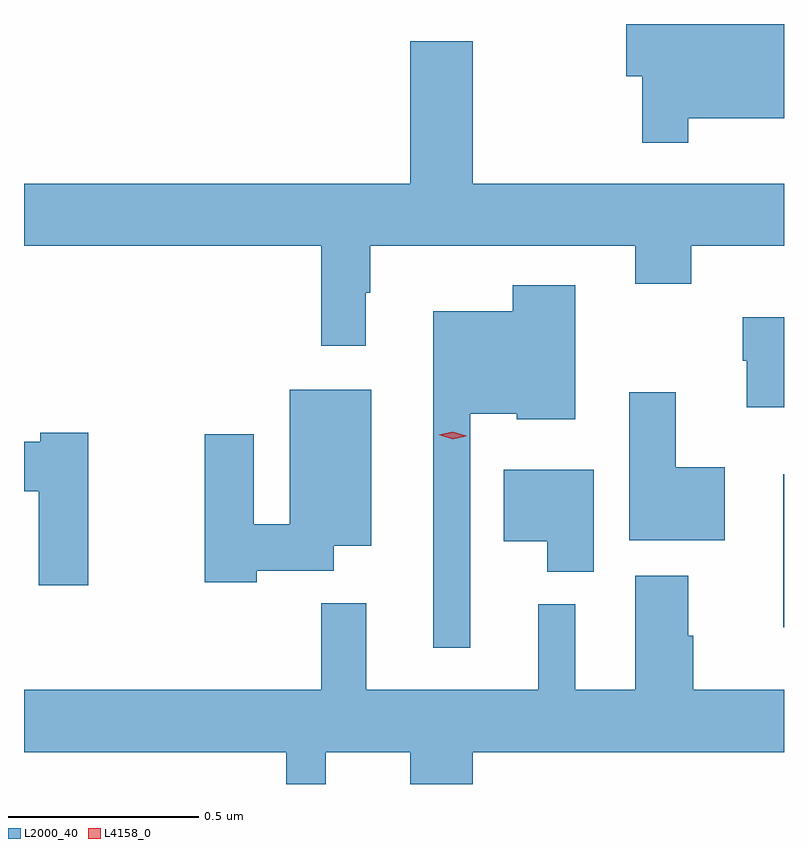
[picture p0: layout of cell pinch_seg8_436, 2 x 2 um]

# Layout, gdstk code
import gdstk
lib = gdstk.Library(unit=1e-6, precision=1e-09)
def R(c, l, rs):  # rectangles x0, y0, x1, y1
    for r in rs: c.add(gdstk.rectangle(r[:2], r[2:], *l))
def P(c, l, *ps):  # polygons
    for p in ps: c.add(gdstk.Polygon(p, *l))
L2000_40 = (2000, 40)
L4158_0 = (4158, 0)

pinch_seg8_436 = lib.new_cell('pinch_seg8_436')
R(pinch_seg8_436, L2000_40, [(261.893,1139.472,261.895,1139.875)])
P(pinch_seg8_436, L2000_40, [(261.643,1140.812),(261.895,1140.812),(261.895,1141.06),(261.48,1141.06),(261.48,1140.923),(261.522,1140.923),(261.522,1140.747),(261.643,1140.747)],
  [(260.794,1140.353),(260.806,1140.353),(260.806,1140.476),(261.503,1140.476),(261.503,1140.377),(261.651,1140.377),(261.651,1140.476),(261.895,1140.476),(261.895,1140.64),(261.076,1140.64),(261.076,1141.015),(260.912,1141.015),(260.912,1140.64),(259.895,1140.64),(259.895,1140.476),(260.677,1140.476),(260.677,1140.213),(260.794,1140.213)],
  [(261.069,1140.035),(261.192,1140.035),(261.192,1140.02),(261.346,1140.02),(261.346,1140.373),(261.181,1140.373),(261.181,1140.304),(260.972,1140.304),(260.972,1139.418),(261.069,1139.418)],
  [(261.895,1140.288),(261.786,1140.288),(261.786,1140.174),(261.797,1140.174),(261.797,1140.051),(261.895,1140.051)],
  [(260.508,1139.621),(260.71,1139.621),(260.71,1139.687),(260.809,1139.687),(260.809,1140.097),(260.594,1140.097),(260.594,1139.744),(260.5,1139.744),(260.5,1139.98),(260.371,1139.98),(260.371,1139.591),(260.508,1139.591)],
  [(261.739,1139.893),(261.61,1139.893),(261.61,1140.091),(261.488,1140.091),(261.488,1139.702),(261.739,1139.702)],
  [(260.064,1139.984),(259.938,1139.984),(259.938,1139.961),(259.895,1139.961),(259.895,1139.831),(259.934,1139.831),(259.934,1139.583),(260.064,1139.583)],
  [(261.394,1139.887),(261.158,1139.887),(261.158,1139.699),(261.272,1139.699),(261.272,1139.618),(261.394,1139.618)],
  [(260.689,1139.144),(260.912,1139.144),(260.912,1139.06),(261.076,1139.06),(261.076,1139.144),(261.895,1139.144),(261.895,1139.308),(261.656,1139.308),(261.656,1139.45),(261.643,1139.45),(261.643,1139.608),(261.503,1139.608),(261.503,1139.308),(261.346,1139.308),(261.346,1139.533),(261.248,1139.533),(261.248,1139.308),(260.795,1139.308),(260.795,1139.536),(260.677,1139.536),(260.677,1139.308),(259.895,1139.308),(259.895,1139.144),(260.585,1139.144),(260.585,1139.06),(260.689,1139.06)])
P(pinch_seg8_436, L4158_0, [(261.023,1139.967),(260.987,1139.979),(260.987,1139.979),(260.987,1139.979),(261.023,1139.987),(261.059,1139.976),(261.059,1139.976),(261.059,1139.975)])

lib.write_gds('pinch_seg8_436.gds')
